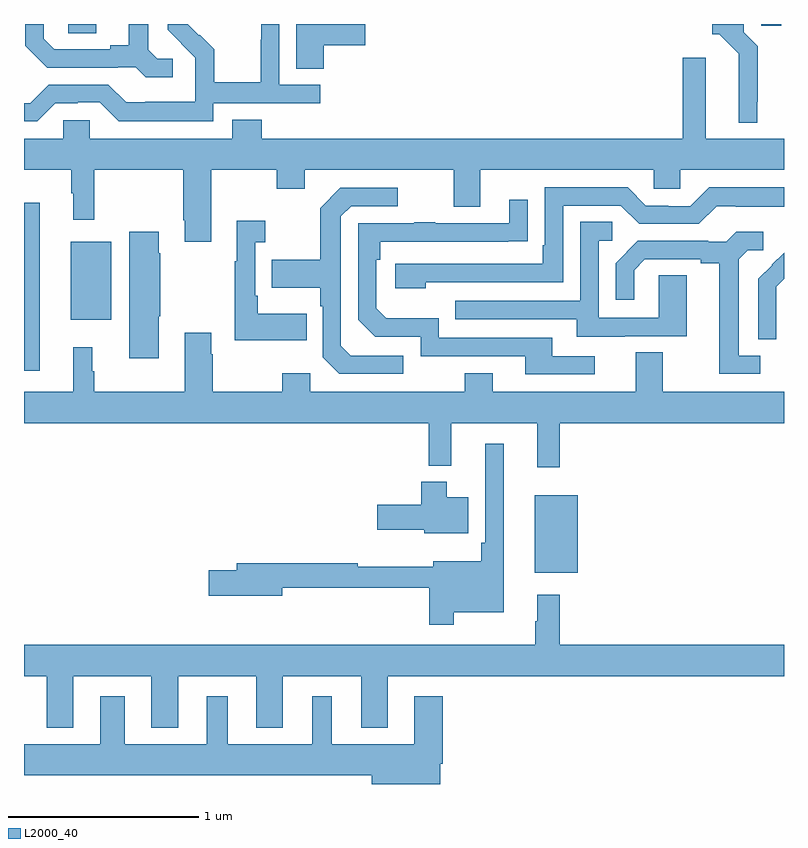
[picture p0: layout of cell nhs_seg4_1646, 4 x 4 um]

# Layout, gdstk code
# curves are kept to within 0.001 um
import gdstk
lib = gdstk.Library(unit=1e-6, precision=1e-09)
def R(c, l, rs):  # rectangles x0, y0, x1, y1
    for r in rs: c.add(gdstk.rectangle(r[:2], r[2:], *l))
def P(c, l, *ps):  # polygons
    for p in ps: c.add(gdstk.Polygon(p, *l))
L2000_40 = (2000, 40)

nhs_seg4_1646 = lib.new_cell('nhs_seg4_1646')
R(nhs_seg4_1646, L2000_40, [(197.687,816.011,197.914,816.421), (195,817.074,195.082,817.96), (195.245,817.343,195.46,817.753), (195.234,818.851,195.379,818.9), (198.881,818.892,198.985,818.9)])
P(nhs_seg4_1646, L2000_40, [(198.859,818.491),(198.863,818.491),(198.863,818.782),(198.789,818.856),(198.789,818.9),(198.623,818.9),(198.623,818.846),(198.66,818.846),(198.762,818.744),(198.761,818.381),(198.859,818.381)],
  [(195.784,818.718),(195.702,818.718),(195.655,818.765),(195.655,818.9),(195.551,818.9),(195.551,818.789),(195.455,818.789),(195.455,818.766),(195.16,818.766),(195.103,818.823),(195.103,818.9),(195.006,818.9),(195.006,818.786),(195.122,818.67),(195.494,818.67),(195.494,818.673),(195.588,818.673),(195.64,818.621),(195.784,818.621)],
  [(196.577,818.789),(196.795,818.789),(196.795,818.9),(196.433,818.9),(196.433,818.665),(196.577,818.665)],
  [(195.996,818.484),(196.558,818.484),(196.558,818.58),(196.344,818.58),(196.344,818.9),(196.248,818.9),(196.248,818.816),(196.246,818.816),(196.246,818.593),(196.001,818.593),(196.001,818.767),(195.924,818.844),(195.921,818.841),(195.863,818.9),(195.756,818.9),(195.756,818.87),(195.902,818.722),(195.902,818.625),(195.9,818.625),(195.9,818.491),(195.637,818.491),(195.637,818.487),(195.537,818.487),(195.444,818.58),(195.129,818.58),(195.033,818.484),(195,818.484),(195,818.388),(195.069,818.388),(195.165,818.484),(195.284,818.484),(195.284,818.487),(195.399,818.487),(195.499,818.387),(195.996,818.387)],
  [(196.25,818.395),(196.097,818.395),(196.097,818.296),(195.345,818.296),(195.345,818.394),(195.207,818.394),(195.207,818.296),(195,818.296),(195,818.132),(195.249,818.132),(195.249,818.009),(195.26,818.009),(195.26,817.869),(195.37,817.869),(195.37,818.132),(195.838,818.132),(195.838,817.867),(195.845,817.867),(195.845,817.755),(195.985,817.755),(195.985,818.132),(196.33,818.132),(196.33,818.033),(196.477,818.033),(196.477,818.132),(197.261,818.132),(197.261,817.938),(197.401,817.938),(197.401,818.132),(198.315,818.132),(198.315,818.034),(198.453,818.034),(198.453,818.132),(199,818.132),(199,818.296),(198.589,818.296),(198.589,818.722),(198.467,818.722),(198.467,818.296),(196.25,818.296)],
  [(197.114,817.542),(197.838,817.542),(197.838,817.944),(198.141,817.944),(198.237,817.848),(198.552,817.848),(198.645,817.941),(198.745,817.941),(198.745,817.937),(199,817.937),(199,818.041),(198.607,818.041),(198.507,817.941),(198.392,817.941),(198.392,817.944),(198.273,817.944),(198.177,818.04),(197.742,818.04),(197.742,817.735),(197.729,817.735),(197.729,817.638),(196.953,817.638),(196.953,817.508),(197.114,817.508)],
  [(196.996,817.155),(196.719,817.155),(196.668,817.206),(196.668,817.887),(196.722,817.941),(196.966,817.941),(196.966,818.037),(196.665,818.037),(196.56,817.931),(196.56,817.659),(196.303,817.659),(196.303,817.511),(196.56,817.511),(196.56,817.415),(196.572,817.415),(196.572,817.146),(196.659,817.059),(196.996,817.059)],
  [(198.004,817.152),(197.779,817.152),(197.779,817.248),(197.184,817.248),(197.184,817.351),(196.907,817.351),(196.854,817.404),(196.854,817.658),(196.874,817.658),(196.874,817.755),(197.651,817.756),(197.651,817.975),(197.555,817.975),(197.555,817.851),(197.165,817.851),(197.165,817.856),(197.053,817.856),(197.053,817.851),(196.758,817.851),(196.758,817.344),(196.848,817.254),(197.088,817.254),(197.088,817.152),(197.639,817.152),(197.639,817.056),(198.004,817.056)],
  [(196.487,817.375),(196.231,817.375),(196.231,817.471),(196.218,817.471),(196.218,817.751),(196.27,817.751),(196.27,817.864),(196.121,817.864),(196.121,817.651),(196.11,817.651),(196.11,817.235),(196.487,817.235)],
  [(198.163,817.257),(198.487,817.257),(198.487,817.577),(198.342,817.577),(198.342,817.353),(198.024,817.353),(198.024,817.758),(198.097,817.758),(198.097,817.859),(197.928,817.859),(197.928,817.443),(197.269,817.443),(197.269,817.347),(197.909,817.347),(197.909,817.253),(198.163,817.253)],
  [(195.709,817.363),(195.717,817.363),(195.717,817.694),(195.709,817.694),(195.709,817.807),(195.554,817.807),(195.554,817.14),(195.709,817.14)],
  [(198.874,817.155),(198.763,817.155),(198.763,817.663),(198.81,817.71),(198.892,817.71),(198.892,817.807),(198.748,817.807),(198.696,817.755),(198.602,817.755),(198.602,817.758),(198.23,817.758),(198.114,817.642),(198.114,817.449),(198.211,817.449),(198.211,817.605),(198.268,817.662),(198.563,817.662),(198.563,817.64),(198.659,817.64),(198.659,817.059),(198.874,817.059)],
  [(198.96,817.394),(198.959,817.394),(198.959,817.517),(199,817.558),(199,817.696),(198.936,817.632),(198.937,817.631),(198.864,817.558),(198.864,817.24),(198.96,817.24)],
  [(196.506,817.063),(196.36,817.063),(196.36,816.964),(195.993,816.964),(195.993,817.163),(195.985,817.163),(195.985,817.276),(195.845,817.276),(195.845,816.964),(195.37,816.964),(195.37,817.073),(195.359,817.073),(195.359,817.198),(195.26,817.198),(195.26,816.964),(195,816.964),(195,816.8),(197.131,816.8),(197.131,816.575),(197.249,816.575),(197.249,816.8),(197.702,816.8),(197.702,816.567),(197.819,816.567),(197.819,816.8),(199,816.8),(199,816.964),(198.361,816.964),(198.361,817.172),(198.221,817.172),(198.221,816.964),(197.467,816.964),(197.467,817.063),(197.32,817.063),(197.32,816.964),(196.506,816.964)],
  [(197.263,815.804),(197.524,815.804),(197.524,816.691),(197.427,816.691),(197.427,816.169),(197.407,816.169),(197.407,816.073),(197.153,816.073),(197.153,816.044),(196.757,816.044),(196.757,816.062),(196.121,816.062),(196.121,816.026),(195.972,816.026),(195.972,815.891),(196.36,815.891),(196.36,815.934),(197.134,815.934),(197.134,815.739),(197.263,815.739)],
  [(197.338,816.409),(197.224,816.409),(197.224,816.49),(197.09,816.49),(197.09,816.369),(196.86,816.369),(196.86,816.239),(197.106,816.239),(197.106,816.221),(197.338,816.221)],
  [(195.259,815.468),(195.671,815.468),(195.671,815.195),(195.811,815.195),(195.811,815.468),(196.223,815.468),(196.223,815.195),(196.363,815.195),(196.363,815.468),(196.775,815.468),(196.775,815.195),(196.915,815.195),(196.915,815.468),(199,815.468),(199,815.632),(197.819,815.632),(197.819,815.896),(197.702,815.896),(197.702,815.756),(197.691,815.756),(197.691,815.632),(195,815.632),(195,815.468),(195.119,815.468),(195.119,815.195),(195.259,815.195)],
  [(197.191,815.006),(197.204,815.006),(197.204,815.362),(197.054,815.362),(197.054,815.11),(196.621,815.11),(196.621,815.362),(196.517,815.362),(196.517,815.11),(196.072,815.11),(196.072,815.362),(195.962,815.362),(195.962,815.11),(195.529,815.11),(195.529,815.362),(195.401,815.362),(195.401,815.11),(195,815.11),(195,814.946),(196.829,814.946),(196.829,814.9),(197.191,814.9)])

lib.write_gds('nhs_seg4_1646.gds')
